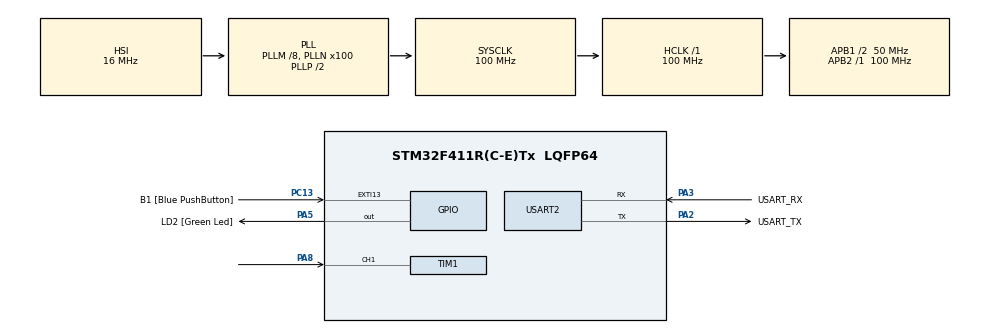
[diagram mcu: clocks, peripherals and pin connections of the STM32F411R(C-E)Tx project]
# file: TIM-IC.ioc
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Mcu.Family=STM32F4
PC15-OSC32_OUT.Mode=LSE-External-Oscillator
RCC.CortexFreq_Value=100000000
PC13-ANTI_TAMP.GPIO_Label=B1 [Blue PushButton]
PA14.GPIO_Label=TCK
PH1\ -\ OSC_OUT.Mode=HSE-External-Clock-Source
Dma.TIM1_CH1.0.MemDataAlignment=DMA_MDATAALIGN_HALFWORD
Dma.TIM1_CH1.0.FIFOMode=DMA_FIFOMODE_DISABLE
TIM11.Prescaler=99
NVIC.DMA2_Stream1_IRQn=true\:0\:0\:false\:false\:true\:false\:true
RCC.APB1CLKDivider=RCC_HCLK_DIV2
PC14-OSC32_IN.Signal=RCC_OSC32_IN
Dma.TIM1_CH1.0.PeriphDataAlignment=DMA_PDATAALIGN_HALFWORD
Dma.TIM1_CH1.0.Priority=DMA_PRIORITY_LOW
RCC.SYSCLKSource=RCC_SYSCLKSOURCE_PLLCLK
ProjectManager.StackSize=0x400
VP_TIM11_VS_ClockSourceINT.Mode=Enable_Timer
Dma.TIM1_CH1.0.PeriphInc=DMA_PINC_DISABLE
Dma.TIM1_CH1.0.MemInc=DMA_MINC_ENABLE
PA3.Mode=Asynchronous
PA13.Signal=SYS_JTMS-SWDIO
PH0\ -\ OSC_IN.Mode=HSE-External-Clock-Source
Dma.TIM1_CH1.0.Mode=DMA_CIRCULAR
TIM1.Prescaler=99
SH.S_TIM1_CH1.0=TIM1_CH1,Input_Capture1_from_TI1
PH0\ -\ OSC_IN.Signal=RCC_OSC_IN
ProjectManager.TargetToolchain=STM32CubeIDE
RCC.HCLKFreq_Value=100000000
RCC.APB2TimFreq_Value=100000000
PC15-OSC32_OUT.Signal=RCC_OSC32_OUT
RCC.AHBFreq_Value=100000000
PA5.Signal=GPIO_Output
NVIC.TIM1_TRG_COM_TIM11_IRQn=true\:0\:0\:false\:false\:true\:true\:true
RCC.HSE_VALUE=8000000
PH1\ -\ OSC_OUT.Signal=RCC_OSC_OUT
board=NUCLEO-F411RE
PC13-ANTI_TAMP.Signal=GPXTI13
RCC.VCOOutputFreq_Value=200000000
RCC.APB2Freq_Value=100000000
PC14-OSC32_IN.Mode=LSE-External-Oscillator
PA14.Mode=Serial_Wire
PA8.Signal=S_TIM1_CH1
PA13.Mode=Serial_Wire
Mcu.Name=STM32F411R(C-E)Tx
VP_TIM1_VS_ClockSourceINT.Mode=Internal
PA2.Signal=USART2_TX
PA13.GPIO_Label=TMS
RCC.FLatency-AdvancedSettings=FLASH_LATENCY_3
Dma.TIM1_CH1.0.Direction=DMA_PERIPH_TO_MEMORY
RCC.48MHZClocksFreq_Value=50000000
PB3.Signal=SYS_JTDO-SWO
RCC.SYSCLKFreq_VALUE=100000000
Mcu.Package=LQFP64
Dma.TIM1_CH1.0.Instance=DMA2_Stream1
PA5.GPIO_Label=LD2 [Green Led]
USART2.VirtualMode=VM_ASYNC
TIM1.Channel-Input_Capture1_from_TI1=TIM_CHANNEL_1
PC13-ANTI_TAMP.GPIO_ModeDefaultEXTI=GPIO_MODE_IT_FALLING
PA2.GPIO_Label=USART_TX
PA14.Signal=SYS_JTCK-SWCLK
ProjectManager.HeapSize=0x200
RCC.HSI_VALUE=16000000
NVIC.PriorityGroup=NVIC_PRIORITYGROUP_0
RCC.PLLM=8
RCC.PLLN=100
RCC.APB1TimFreq_Value=100000000
PA2.Mode=Asynchronous
Dma.Request0=TIM1_CH1
RCC.APB1Freq_Value=50000000
TIM1.ICFilter_CH1=2
PA3.GPIO_Label=USART_RX
PA3.Signal=USART2_RX
PB3.GPIO_Label=SWO

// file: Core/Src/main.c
/* USER CODE BEGIN Header */
/**
  ******************************************************************************
  * @file           : main.c
  * @brief          : Main program body
  ******************************************************************************
  * @attention
  *
  * <h2><center>&copy; Copyright (c) 2021 STMicroelectronics.
  * All rights reserved.</center></h2>
  *
  * This software component is licensed by ST under BSD 3-Clause license,
  * the "License"; You may not use this file except in compliance with the
  * License. You may obtain a copy of the License at:
  *                        opensource.org/licenses/BSD-3-Clause
  *
  ******************************************************************************
  */
/* USER CODE END Header */
#include "main.h"

/* USER CODE BEGIN PD */
#define CAPTURENUM 16 //ขนาดเท้่าไหร้หก็ได้
/* USER CODE END PD */

TIM_HandleTypeDef htim1;
TIM_HandleTypeDef htim11;
DMA_HandleTypeDef hdma_tim1_ch1;

UART_HandleTypeDef huart2;

/* USER CODE BEGIN PV */
//for microsecond measurement
uint64_t _micros = 0; //นับเวลาปัจจุบัน เมื่อครบ 65535 ก็จะ+65535 ทุกการ interrupt (ทำเพราะtime1,11 จะวนกลับไปที่0ใหม่)

//12 P/R , Gear reduction 1 : 64
//DMA Buffer
uint16_t capturedata[CAPTURENUM]={0}; //uint16_t because Halfword in DMA setting

//diff time of capture data
int32_t DiffTime[CAPTURENUM-1]={0};
//Mean difftime
float MeanTime = 0;
/* USER CODE END PV */

void SystemClock_Config(void);
static void MX_GPIO_Init(void);
static void MX_DMA_Init(void);
static void MX_USART2_UART_Init(void);
static void MX_TIM11_Init(void);
static void MX_TIM1_Init(void);
/* USER CODE BEGIN PFP */
uint64_t micros();

//read speed of encoder
void encoderSpeedReaderCycle();
/* USER CODE END PFP */

int main(void)
{

  /* MCU Configuration--------------------------------------------------------*/

  /* Reset of all peripherals, Initializes the Flash interface and the Systick. */
  HAL_Init();

  /* Configure the system clock */
  SystemClock_Config();

  /* Initialize all configured peripherals */
  MX_GPIO_Init();
  MX_DMA_Init();
  MX_USART2_UART_Init();
  MX_TIM11_Init();
  MX_TIM1_Init();
  /* USER CODE BEGIN 2 */
  HAL_TIM_Base_Start_IT(&htim11); //FOR START TIM11
  uint64_t timestamp =0;

  //start Input capture in DMA
  HAL_TIM_Base_Start(&htim1);
  HAL_TIM_IC_Start_DMA(&htim1,TIM_CHANNEL_1,(uint32_t*) capturedata, CAPTURENUM);
  /* USER CODE END 2 */

  /* Infinite loop */
  while (1)
  {

    /* USER CODE BEGIN 3 */
	if(micros()-timestamp > 1000000)
	{
		timestamp = micros();
		HAL_GPIO_TogglePin(LD2_GPIO_Port, LD2_Pin);
	}
  }
  /* USER CODE END 3 */
}

void SystemClock_Config(void)
{
  RCC_OscInitTypeDef RCC_OscInitStruct = {0};
  RCC_ClkInitTypeDef RCC_ClkInitStruct = {0};

  /** Configure the main internal regulator output voltage
  */
  __HAL_RCC_PWR_CLK_ENABLE();
  __HAL_PWR_VOLTAGESCALING_CONFIG(PWR_REGULATOR_VOLTAGE_SCALE1);
  /** Initializes the RCC Oscillators according to the specified parameters
  * in the RCC_OscInitTypeDef structure.
  */
  RCC_OscInitStruct.OscillatorType = RCC_OSCILLATORTYPE_HSI;
  RCC_OscInitStruct.HSIState = RCC_HSI_ON;
  RCC_OscInitStruct.HSICalibrationValue = RCC_HSICALIBRATION_DEFAULT;
  RCC_OscInitStruct.PLL.PLLState = RCC_PLL_ON;
  RCC_OscInitStruct.PLL.PLLSource = RCC_PLLSOURCE_HSI;
  RCC_OscInitStruct.PLL.PLLM = 8;
  RCC_OscInitStruct.PLL.PLLN = 100;
  RCC_OscInitStruct.PLL.PLLP = RCC_PLLP_DIV2;
  RCC_OscInitStruct.PLL.PLLQ = 4;
  if (HAL_RCC_OscConfig(&RCC_OscInitStruct) != HAL_OK)
  {
    Error_Handler();
  }
  /** Initializes the CPU, AHB and APB buses clocks
  */
  RCC_ClkInitStruct.ClockType = RCC_CLOCKTYPE_HCLK|RCC_CLOCKTYPE_SYSCLK
                              |RCC_CLOCKTYPE_PCLK1|RCC_CLOCKTYPE_PCLK2;
  RCC_ClkInitStruct.SYSCLKSource = RCC_SYSCLKSOURCE_PLLCLK;
  RCC_ClkInitStruct.AHBCLKDivider = RCC_SYSCLK_DIV1;
  RCC_ClkInitStruct.APB1CLKDivider = RCC_HCLK_DIV2;
  RCC_ClkInitStruct.APB2CLKDivider = RCC_HCLK_DIV1;

  if (HAL_RCC_ClockConfig(&RCC_ClkInitStruct, FLASH_LATENCY_3) != HAL_OK)
  {
    Error_Handler();
  }
}

static void MX_TIM1_Init(void)
{

  TIM_ClockConfigTypeDef sClockSourceConfig = {0};
  TIM_MasterConfigTypeDef sMasterConfig = {0};
  TIM_IC_InitTypeDef sConfigIC = {0};

  htim1.Instance = TIM1;
  htim1.Init.Prescaler = 99;
  htim1.Init.CounterMode = TIM_COUNTERMODE_UP;
  htim1.Init.Period = 65535;
  htim1.Init.ClockDivision = TIM_CLOCKDIVISION_DIV1;
  htim1.Init.RepetitionCounter = 0;
  htim1.Init.AutoReloadPreload = TIM_AUTORELOAD_PRELOAD_DISABLE;
  if (HAL_TIM_Base_Init(&htim1) != HAL_OK)
  {
    Error_Handler();
  }
  sClockSourceConfig.ClockSource = TIM_CLOCKSOURCE_INTERNAL;
  if (HAL_TIM_ConfigClockSource(&htim1, &sClockSourceConfig) != HAL_OK)
  {
    Error_Handler();
  }
  if (HAL_TIM_IC_Init(&htim1) != HAL_OK)
  {
    Error_Handler();
  }
  sMasterConfig.MasterOutputTrigger = TIM_TRGO_RESET;
  sMasterConfig.MasterSlaveMode = TIM_MASTERSLAVEMODE_DISABLE;
  if (HAL_TIMEx_MasterConfigSynchronization(&htim1, &sMasterConfig) != HAL_OK)
  {
    Error_Handler();
  }
  sConfigIC.ICPolarity = TIM_INPUTCHANNELPOLARITY_RISING;
  sConfigIC.ICSelection = TIM_ICSELECTION_DIRECTTI;
  sConfigIC.ICPrescaler = TIM_ICPSC_DIV1;
  sConfigIC.ICFilter = 2;
  if (HAL_TIM_IC_ConfigChannel(&htim1, &sConfigIC, TIM_CHANNEL_1) != HAL_OK)
  {
    Error_Handler();
  }

}

static void MX_TIM11_Init(void)
{

  htim11.Instance = TIM11;
  htim11.Init.Prescaler = 99;
  htim11.Init.CounterMode = TIM_COUNTERMODE_UP;
  htim11.Init.Period = 65535;
  htim11.Init.ClockDivision = TIM_CLOCKDIVISION_DIV1;
  htim11.Init.AutoReloadPreload = TIM_AUTORELOAD_PRELOAD_DISABLE;
  if (HAL_TIM_Base_Init(&htim11) != HAL_OK)
  {
    Error_Handler();
  }

}

static void MX_USART2_UART_Init(void)
{

  huart2.Instance = USART2;
  huart2.Init.BaudRate = 115200;
  huart2.Init.WordLength = UART_WORDLENGTH_8B;
  huart2.Init.StopBits = UART_STOPBITS_1;
  huart2.Init.Parity = UART_PARITY_NONE;
  huart2.Init.Mode = UART_MODE_TX_RX;
  huart2.Init.HwFlowCtl = UART_HWCONTROL_NONE;
  huart2.Init.OverSampling = UART_OVERSAMPLING_16;
  if (HAL_UART_Init(&huart2) != HAL_OK)
  {
    Error_Handler();
  }

}

static void MX_DMA_Init(void)
{

  /* DMA controller clock enable */
  __HAL_RCC_DMA2_CLK_ENABLE();

  /* DMA interrupt init */
  /* DMA2_Stream1_IRQn interrupt configuration */
  HAL_NVIC_SetPriority(DMA2_Stream1_IRQn, 0, 0);
  HAL_NVIC_EnableIRQ(DMA2_Stream1_IRQn);

}

static void MX_GPIO_Init(void)
{
  GPIO_InitTypeDef GPIO_InitStruct = {0};

  /* GPIO Ports Clock Enable */
  __HAL_RCC_GPIOC_CLK_ENABLE();
  __HAL_RCC_GPIOH_CLK_ENABLE();
  __HAL_RCC_GPIOA_CLK_ENABLE();
  __HAL_RCC_GPIOB_CLK_ENABLE();

  /*Configure GPIO pin Output Level */
  HAL_GPIO_WritePin(LD2_GPIO_Port, LD2_Pin, GPIO_PIN_RESET);

  /*Configure GPIO pin : B1_Pin */
  GPIO_InitStruct.Pin = B1_Pin;
  GPIO_InitStruct.Mode = GPIO_MODE_IT_FALLING;
  GPIO_InitStruct.Pull = GPIO_NOPULL;
  HAL_GPIO_Init(B1_GPIO_Port, &GPIO_InitStruct);

  /*Configure GPIO pin : LD2_Pin */
  GPIO_InitStruct.Pin = LD2_Pin;
  GPIO_InitStruct.Mode = GPIO_MODE_OUTPUT_PP;
  GPIO_InitStruct.Pull = GPIO_NOPULL;
  GPIO_InitStruct.Speed = GPIO_SPEED_FREQ_LOW;
  HAL_GPIO_Init(LD2_GPIO_Port, &GPIO_InitStruct);

}

/* USER CODE BEGIN 4 */
//Time counter
uint64_t micros()
{
	return _micros + htim11.Instance->CNT; //pull time from CNT(counter) ปัจจุบัน
}
//Interrupt ใช้คำว่า Callbackตลอแด
void HAL_TIM_PeriodElapsedCallback(TIM_HandleTypeDef *htim)
{
	if(htim == &htim11) //check ว่าคือ TIM11
	{
		_micros += 65535;
	}
}

//void encoderSpeedReaderCycle()
//{
//
//}
/* USER CODE END 4 */

void Error_Handler(void)
{
  __disable_irq();
  while (1)
  {
  }
}

/************************ (C) COPYRIGHT STMicroelectronics *****END OF FILE****/
